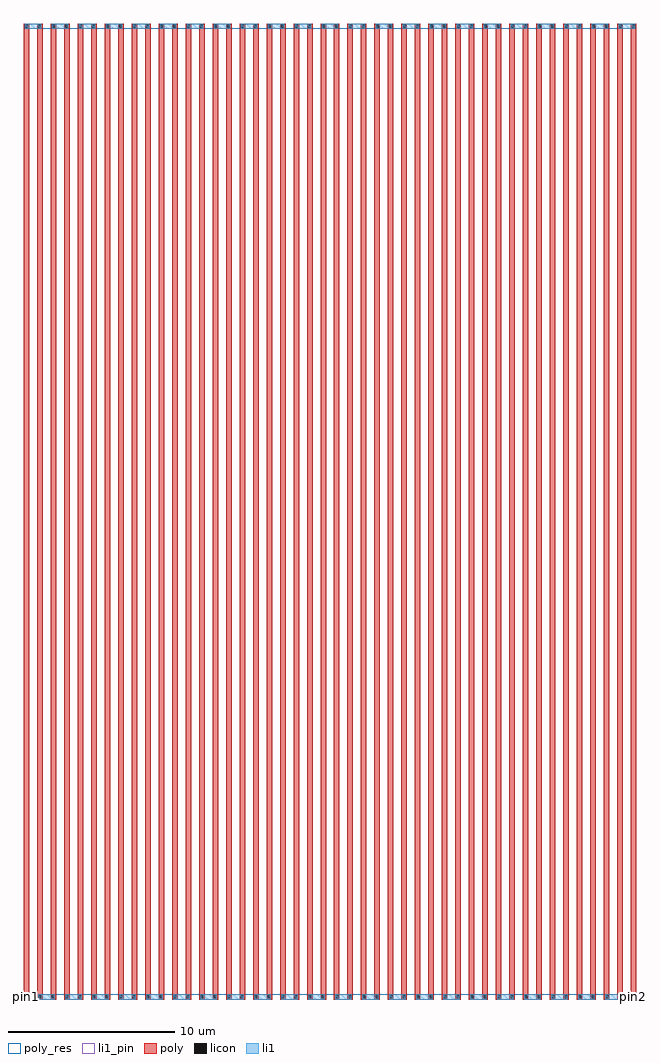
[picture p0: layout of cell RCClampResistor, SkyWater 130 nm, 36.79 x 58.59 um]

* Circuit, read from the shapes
.subckt RCClampResistor pin1 pin2
R1 n1 pin1 sky130_fd_pr__res_generic_po w=0.33 l=58
R2 n1 n2 sky130_fd_pr__res_generic_po w=0.33 l=58
R3 n3 n2 sky130_fd_pr__res_generic_po w=0.33 l=58
R4 n3 n4 sky130_fd_pr__res_generic_po w=0.33 l=58
R5 n5 n4 sky130_fd_pr__res_generic_po w=0.33 l=58
R6 n5 n6 sky130_fd_pr__res_generic_po w=0.33 l=58
R7 n7 n6 sky130_fd_pr__res_generic_po w=0.33 l=58
R8 n7 n8 sky130_fd_pr__res_generic_po w=0.33 l=58
R9 n9 n8 sky130_fd_pr__res_generic_po w=0.33 l=58
R10 n9 n10 sky130_fd_pr__res_generic_po w=0.33 l=58
R11 n11 n10 sky130_fd_pr__res_generic_po w=0.33 l=58
R12 n11 n12 sky130_fd_pr__res_generic_po w=0.33 l=58
R13 n13 n12 sky130_fd_pr__res_generic_po w=0.33 l=58
R14 n13 n14 sky130_fd_pr__res_generic_po w=0.33 l=58
R15 n15 n14 sky130_fd_pr__res_generic_po w=0.33 l=58
R16 n15 n16 sky130_fd_pr__res_generic_po w=0.33 l=58
R17 n17 n16 sky130_fd_pr__res_generic_po w=0.33 l=58
R18 n17 n18 sky130_fd_pr__res_generic_po w=0.33 l=58
R19 n19 n18 sky130_fd_pr__res_generic_po w=0.33 l=58
R20 n19 n20 sky130_fd_pr__res_generic_po w=0.33 l=58
R21 n21 n20 sky130_fd_pr__res_generic_po w=0.33 l=58
R22 n21 n22 sky130_fd_pr__res_generic_po w=0.33 l=58
R23 n23 n22 sky130_fd_pr__res_generic_po w=0.33 l=58
R24 n23 n24 sky130_fd_pr__res_generic_po w=0.33 l=58
R25 n25 n24 sky130_fd_pr__res_generic_po w=0.33 l=58
R26 n25 n26 sky130_fd_pr__res_generic_po w=0.33 l=58
R27 n27 n26 sky130_fd_pr__res_generic_po w=0.33 l=58
R28 n27 n28 sky130_fd_pr__res_generic_po w=0.33 l=58
R29 n29 n28 sky130_fd_pr__res_generic_po w=0.33 l=58
R30 n29 n30 sky130_fd_pr__res_generic_po w=0.33 l=58
R31 n31 n30 sky130_fd_pr__res_generic_po w=0.33 l=58
R32 n31 n32 sky130_fd_pr__res_generic_po w=0.33 l=58
R33 n33 n32 sky130_fd_pr__res_generic_po w=0.33 l=58
R34 n33 n34 sky130_fd_pr__res_generic_po w=0.33 l=58
R35 n35 n34 sky130_fd_pr__res_generic_po w=0.33 l=58
R36 n35 n36 sky130_fd_pr__res_generic_po w=0.33 l=58
R37 n37 n36 sky130_fd_pr__res_generic_po w=0.33 l=58
R38 n37 n38 sky130_fd_pr__res_generic_po w=0.33 l=58
R39 n39 n38 sky130_fd_pr__res_generic_po w=0.33 l=58
R40 n39 n40 sky130_fd_pr__res_generic_po w=0.33 l=58
R41 n41 n40 sky130_fd_pr__res_generic_po w=0.33 l=58
R42 n41 n42 sky130_fd_pr__res_generic_po w=0.33 l=58
R43 n43 n42 sky130_fd_pr__res_generic_po w=0.33 l=58
R44 n43 n44 sky130_fd_pr__res_generic_po w=0.33 l=58
R45 n45 n44 sky130_fd_pr__res_generic_po w=0.33 l=58
R46 n45 pin2 sky130_fd_pr__res_generic_po w=0.33 l=58
.ends

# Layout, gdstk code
import gdstk
lib = gdstk.Library(unit=1e-6, precision=1e-09)
def R(c, l, rs):  # rectangles x0, y0, x1, y1
    for r in rs: c.add(gdstk.rectangle(r[:2], r[2:], *l))
def A(c, l, x, y, w, h, nx, ny, dx, dy):  # array of equal rectangles
    R(c, l, [(x+i*dx, y+j*dy, x+i*dx+w, y+j*dy+h) for i in range(nx) for j in range(ny)])
poly_res = (66, 13)
poly = (66, 20)
licon = (66, 44)
li1_pin = (67, 16)
li1 = (67, 20)

rcclampresistor = lib.new_cell('RCClampResistor')
R(rcclampresistor, poly_res, [(-0.005,0.295,36.785,58.295)])
A(rcclampresistor, poly, 0, 0, 0.33, 58.59, 46, 1, 0.81, 0)
A(rcclampresistor, licon, 0.08, 0.08, 0.17, 0.17, 46, 2, 0.81, 58.26)
R(rcclampresistor, li1_pin, [(0.08,0,0.25,0.33), (36.53,0,36.7,0.33)])
A(rcclampresistor, li1, 0.89, 0, 0.98, 0.33, 22, 1, 1.62, 0)
A(rcclampresistor, li1, 0.08, 58.26, 0.98, 0.33, 23, 1, 1.62, 0)
R(rcclampresistor, li1, [(0.08,0,0.25,0.33), (36.53,0,36.7,0.33)])
rcclampresistor.add(gdstk.Label('pin1', (0.165,0.165), layer=67, texttype=16))
rcclampresistor.add(gdstk.Label('pin2', (36.615,0.165), layer=67, texttype=16))

lib.write_gds('RCClampResistor.gds')
